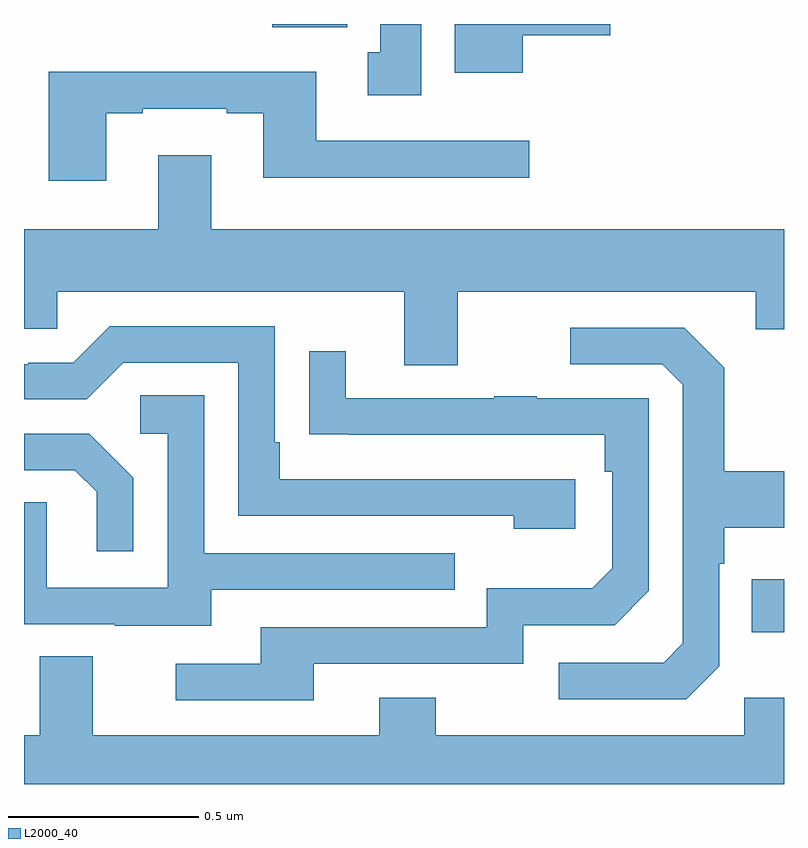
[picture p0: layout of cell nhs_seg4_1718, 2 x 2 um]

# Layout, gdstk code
import gdstk
lib = gdstk.Library(unit=1e-6, precision=1e-09)
def R(c, l, rs):  # rectangles x0, y0, x1, y1
    for r in rs: c.add(gdstk.rectangle(r[:2], r[2:], *l))
def P(c, l, *ps):  # polygons
    for p in ps: c.add(gdstk.Polygon(p, *l))
L2000_40 = (2000, 40)

nhs_seg4_1718 = lib.new_cell('nhs_seg4_1718')
R(nhs_seg4_1718, L2000_40, [(133.915,753.299,134,753.439), (132.653,754.892,132.85,754.9)])
P(nhs_seg4_1718, L2000_40, [(133.045,754.9),(132.938,754.9),(132.938,754.826),(132.905,754.826),(132.905,754.713),(133.045,754.713)],
  [(133.312,754.871),(133.543,754.871),(133.543,754.9),(133.133,754.9),(133.133,754.772),(133.312,754.772)],
  [(132.217,754.665),(132.313,754.665),(132.313,754.677),(132.533,754.677),(132.533,754.665),(132.629,754.665),(132.629,754.496),(133.33,754.496),(133.33,754.593),(132.769,754.593),(132.769,754.774),(132.065,754.774),(132.065,754.488),(132.217,754.488)],
  [(133.141,754.196),(133.925,754.196),(133.925,754.097),(134,754.097),(134,754.36),(132.493,754.36),(132.493,754.555),(132.353,754.555),(132.353,754.36),(132,754.36),(132,754.098),(132.087,754.098),(132.087,754.196),(133.001,754.196),(133.001,754.002),(133.141,754.002)],
  [(133.45,753.702),(132.673,753.702),(132.673,753.799),(132.66,753.799),(132.66,754.104),(132.225,754.104),(132.129,754.008),(132.011,754.008),(132.011,754.005),(132,754.005),(132,753.912),(132.165,753.912),(132.261,754.008),(132.564,754.008),(132.564,753.606),(133.289,753.606),(133.289,753.572),(133.45,753.572)],
  [(133.83,753.21),(133.83,753.479),(133.843,753.479),(133.843,753.575),(134,753.575),(134,753.723),(133.843,753.723),(133.843,753.995),(133.737,754.101),(133.437,754.101),(133.437,754.005),(133.68,754.005),(133.734,753.951),(133.734,753.27),(133.683,753.219),(133.407,753.219),(133.407,753.123),(133.743,753.123)],
  [(132.763,753.216),(133.314,753.216),(133.314,753.318),(133.554,753.318),(133.644,753.408),(133.644,753.915),(133.349,753.915),(133.349,753.92),(133.237,753.92),(133.237,753.915),(132.847,753.915),(132.847,754.039),(132.751,754.039),(132.751,753.82),(132.853,753.82),(132.853,753.819),(133.528,753.819),(133.528,753.722),(133.548,753.722),(133.548,753.468),(133.495,753.415),(133.218,753.415),(133.218,753.312),(132.623,753.312),(132.623,753.216),(132.399,753.216),(132.399,753.12),(132.763,753.12)],
  [(132.493,753.411),(133.133,753.411),(133.133,753.507),(132.474,753.507),(132.474,753.923),(132.306,753.923),(132.306,753.822),(132.378,753.822),(132.378,753.417),(132.06,753.417),(132.06,753.641),(132,753.641),(132,753.321),(132.239,753.321),(132.239,753.317),(132.493,753.317)],
  [(132.288,753.706),(132.172,753.822),(132,753.822),(132,753.726),(132.134,753.726),(132.191,753.669),(132.191,753.513),(132.288,753.513)],
  [(134,753.127),(133.896,753.127),(133.896,753.028),(133.083,753.028),(133.083,753.127),(132.935,753.127),(132.935,753.028),(132.181,753.028),(132.181,753.236),(132.041,753.236),(132.041,753.028),(132,753.028),(132,752.9),(134,752.9)])

lib.write_gds('nhs_seg4_1718.gds')
